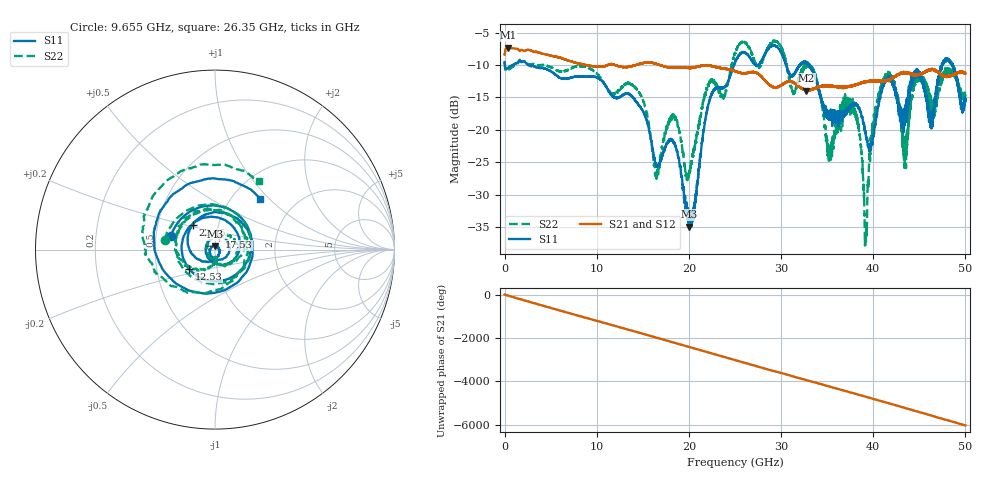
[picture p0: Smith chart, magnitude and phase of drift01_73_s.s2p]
!Created with skrf (http://scikit-rf.org).
# Hz S RI R 50.0
!freq ReS11 ImS11 ReS21 ImS21 ReS12 ImS12 ReS22 ImS22
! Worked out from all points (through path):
!   10001 points, 300 kHz to 50 GHz, reference 50 ohm
!   highest |S21| = -7.33 dB at 360.3 MHz (marker M1); lowest = -13.9 dB at 32.76 GHz (marker M2)
!   group delay of S21, straight-line fit = 335 ps
!   lowest |S11| = -34.9 dB at 20.01 GHz (marker M3), VSWR 1.04, Z = 50.1 + j1.79 ohm
!   |S11| at or under -10 dB: 2.566 GHz to 24.9 GHz (22.33 GHz wide, 163 % of centre); 30.53 GHz to 32.03 GHz (1.497 GHz wide, 4.79 % of centre); 33.07 GHz to 47.45 GHz (14.38 GHz wide, 35.7 % of centre) (the widest 3 of 23)
!   |S22| runs from -38.0 to -6.2 dB; largest |S21 - S12| = 0.011
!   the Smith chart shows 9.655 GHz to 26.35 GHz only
!   S11 on the Smith chart (normalised r, x): 9.655 GHz: 0.60, +0.10; 12.53 GHz: 0.73, -0.17; 17.53 GHz: 1.04, +0.15; 22.45 GHz: 0.75, +0.22; 26.35 GHz: 1.34, +0.89
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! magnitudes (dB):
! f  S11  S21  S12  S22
! 300 kHz  -9.6  -8.4  -8.5  -9.5
! 360.3 MHz  -10.4  -7.3  -7.3  -10.8
! 8.335 GHz  -11.8  -9.8  -9.8  -10.2
! 9.655 GHz  -11.8  -10.2  -10.2  -10.9
! 12.53 GHz  -14.9  -10.2  -10.3  -13.7
! 16.67 GHz  -25.6  -9.9  -9.9  -26.9
! 17.53 GHz  -22.5  -10.3  -10.3  -19.8
! 20.01 GHz  -34.9  -10.5  -10.4  -26.6
! 22.45 GHz  -14.6  -10.2  -10.1  -12.7
! 25 GHz  -9.6  -11.0  -11.0  -8.2
! 26.35 GHz  -8.4  -11.3  -11.2  -6.9
! 32.76 GHz  -9.7  -13.9  -13.9  -10.1
! 33.34 GHz  -10.8  -13.8  -13.7  -10.5
! 35.27 GHz  -17.9  -13.2  -13.2  -22.9
! 37.99 GHz  -15.9  -13.1  -13.1  -17.6
! 39.17 GHz  -20.4  -12.6  -12.6  -37.3
! 40.09 GHz  -20.6  -12.5  -12.4  -17.9
! 41.67 GHz  -11.9  -12.2  -12.4  -12.3
! 43.44 GHz  -17.4  -11.2  -11.2  -23.5
! 44.87 GHz  -10.9  -11.5  -11.5  -12.1
! 46.24 GHz  -18.6  -10.7  -10.6  -16.5
! 50 GHz  -15.4  -11.3  -11.3  -14.9
